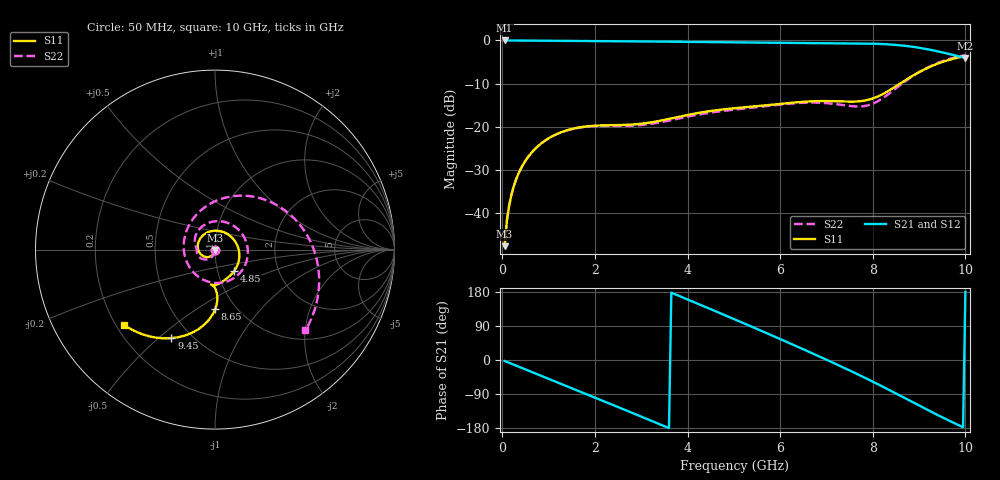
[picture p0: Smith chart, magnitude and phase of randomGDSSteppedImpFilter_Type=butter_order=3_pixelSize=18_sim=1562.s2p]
! freq	dB(S11)	phase(S11)	dB(S12)	phase(S12)
!  dB(S21)	phase(S21)	dB(S22)	phase(S22)
!S-par simulation data
#  GHz  S  DB  R 50
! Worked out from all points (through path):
!   200 points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, 50 MHz to 10 GHz, reference 50 ohm
!   highest |S21| = -0.01 dB at 50 MHz (marker M1); lowest = -4.1 dB at 10 GHz (marker M2)
!   group delay of S21, straight-line fit = 149 ps
!   lowest |S11| = -47.7 dB at 50 MHz (marker M3), VSWR 1.01, Z = 50 - j0.414 ohm
!   |S11| at or under -10 dB: start of sweep to 8.59 GHz
!   |S22| runs from -47.7 to -3.4 dB; largest |S21 - S12| = 0
!   S11 on the Smith chart (normalised r, x): 50 MHz: 1.00, -0.01; 4.85 GHz: 1.20, -0.30; 8.65 GHz: 0.80, -0.60; 9.45 GHz: 0.39, -0.55; 10 GHz: 0.23, -0.34
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0.05  -47.66 -92.0  -0.01 -2.5  -0.01 -2.5  -47.67 -91.1
0.1  -41.64 -95.3  -0.01 -5.0  -0.01 -5.0  -41.65 -93.6
0.2  -35.64 -101.3  -0.02 -10.0  -0.02 -10.0  -35.63 -98.0
0.5  -27.87 -119.1  -0.04 -24.9  -0.04 -24.9  -27.87 -111.0
1.15  -21.82 -158.6  -0.09 -57.1  -0.09 -57.1  -21.85 -137.6
1.75  -20.01 162.3  -0.14 -86.8  -0.14 -86.8  -20.09 -158.7
2.5  -19.61 106.0  -0.19 -124.2  -0.19 -124.2  -19.82 -177.4
2.95  -19.36 68.4  -0.22 -146.8  -0.22 -146.8  -19.66 175.2
3.4  -18.62 31.8  -0.27 -169.6  -0.27 -169.6  -19.00 166.9
4.1  -17.06 -14.8  -0.35 154.7  -0.35 154.7  -17.46 143.0
4.85  -15.88 -48.7  -0.43 116.0  -0.43 116.0  -16.23 100.2
5.05  -15.67 -55.3  -0.44 105.6  -0.44 105.6  -15.99 86.1
5.85  -14.86 -74.6  -0.52 63.3  -0.52 63.3  -15.06 22.1
6.7  -14.09 -89.7  -0.60 17.4  -0.60 17.4  -14.40 -52.3
7.1  -14.06 -95.0  -0.63 -4.8  -0.63 -4.8  -14.63 -90.6
7.5  -14.18 -96.3  -0.66 -27.6  -0.66 -27.6  -15.18 -135.7
7.95  -13.62 -91.1  -0.74 -54.1  -0.74 -54.1  -14.86 161.2
8.35  -11.62 -87.2  -0.92 -78.8  -0.92 -78.8  -12.34 104.3
8.65  -9.59 -89.8  -1.19 -97.8  -1.19 -97.8  -9.87 68.9
9  -7.35 -98.9  -1.70 -120.2  -1.70 -120.2  -7.34 34.2
9.45  -5.19 -116.2  -2.64 -148.2  -2.64 -148.2  -5.01 -3.2
10  -3.62 -140.6  -4.06 179.8  -4.06 179.8  -3.40 -41.8
